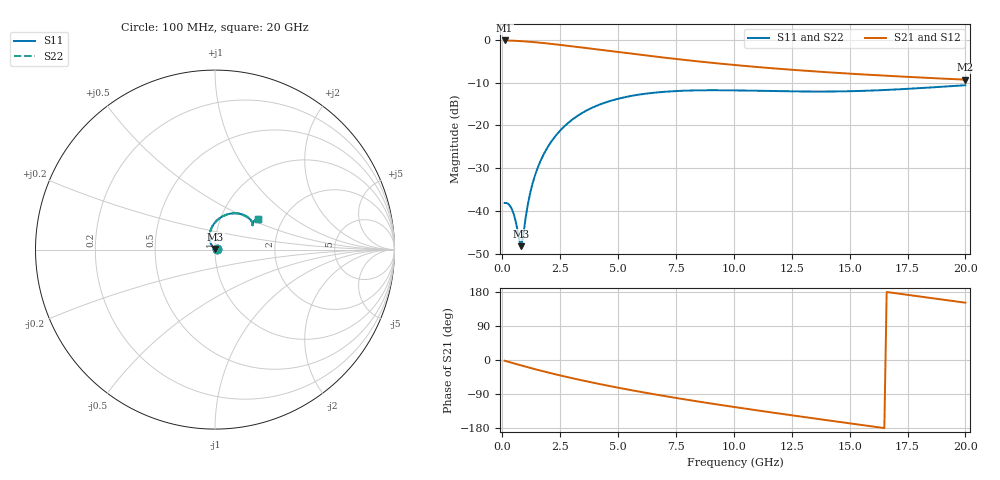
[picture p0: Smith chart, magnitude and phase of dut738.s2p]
! Touchstone file exported from HFSS 2024.1.0
!  File:  C:/UserFiles/LocalFiles/RDL_TSV_Batchsim/temp_RDL_TSV_738_1779894791.aedt
!  Generated:  11:27:39 PM May 27, 2026
!  Design:  RDL_TSV
!  Project:  temp_RDL_TSV_738_1779894791
!  Setup:  Setup1
!  Solution:  Sweep
! Variables:
!  dtsv = 9.47um
!  hbump = 3um
!  htsv = 87.37um
!  ldown = 313.73um
!  lrdl = 488.05um
!  p = 40
!  p1 = 44.7um
!  rhole = 10um
!  subl = 2893.39um
!  t = 450um
!  tdown = 4.71um
!  trdl = 4.66um
!  viad = 10um
!  wdown = 16.23um
!  wrdl = 21.12um
!  xbump = 18um
# GHz S MA R 50.000000
! Terminal data exported
! Port[1] = TM1_1_T1
! Port[2] = TM1_4_T1
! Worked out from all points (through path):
!   200 points, 100 MHz to 20 GHz, reference 50 ohm
!   highest |S21| = -0.11 dB at 100 MHz (marker M1); lowest = -9.3 dB at 20 GHz (marker M2)
!   group delay of S21, straight-line fit = 27.4 ps
!   lowest |S11| = -48.3 dB at 800 MHz (marker M3), VSWR 1.01, Z = 50.2 + j0.331 ohm
!   |S11| at or under -10 dB: start of sweep to end of sweep
!   |S22| runs from -48.3 to -10.6 dB; largest |S21 - S12| = 1e-14
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0.1  0.01234 2.6  0.9872 -1.8  0.9872 -1.8  0.01234 2.6
! Gamma 0 0 0 0
! Port Impedance 50 0 50 0
0.3  0.0118 3.1  0.984 -5.4  0.984 -5.4  0.0118 3.1
0.5  0.009082 4.9  0.9794 -8.9  0.9794 -8.9  0.00908 4.9
0.6  0.007122 10.0  0.9765 -10.6  0.9765 -10.6  0.007121 10.0
0.8  0.003857 58.7  0.9698 -14.0  0.9698 -14.0  0.003859 58.8
0.9  0.005018 99.6  0.9659 -15.7  0.9659 -15.7  0.00502 99.6
1  0.008 118.4  0.9617 -17.4  0.9617 -17.4  0.008002 118.4
1.1  0.01177 125.5  0.9572 -19.1  0.9572 -19.1  0.01177 125.5
1.2  0.01599 128.2  0.9524 -20.7  0.9524 -20.7  0.01598 128.2
1.4  0.02534 128.5  0.9421 -24.0  0.9421 -24.0  0.02534 128.5
1.7  0.041 124.7  0.9253 -28.8  0.9253 -28.8  0.04099 124.7
2.1  0.06366 117.6  0.9011 -34.9  0.9011 -34.9  0.06365 117.6
2.5  0.08705 110.1  0.8759 -40.7  0.8759 -40.7  0.08704 110.1
3  0.1157 101.1  0.844 -47.8  0.844 -47.8  0.1157 101.1
3.5  0.1424 92.7  0.8124 -54.5  0.8124 -54.5  0.1424 92.7
4.9  0.2017 73.1  0.7284 -71.9  0.7284 -71.9  0.2016 73.1
6.8  0.2449 54.2  0.6302 -93.0  0.6302 -93.0  0.2448 54.1
8.4  0.2571 43.6  0.5636 -109.0  0.5636 -109.0  0.257 43.6
10.1  0.2569 36.7  0.5073 -124.8  0.5073 -124.8  0.2568 36.7
13.4  0.2489 33.0  0.4304 -153.6  0.4304 -153.6  0.2488 32.9
16.7  0.261 35.4  0.3799 178.6  0.3799 178.6  0.2608 35.3
20  0.2952 35.9  0.3431 151.2  0.3431 151.2  0.2949 35.8
